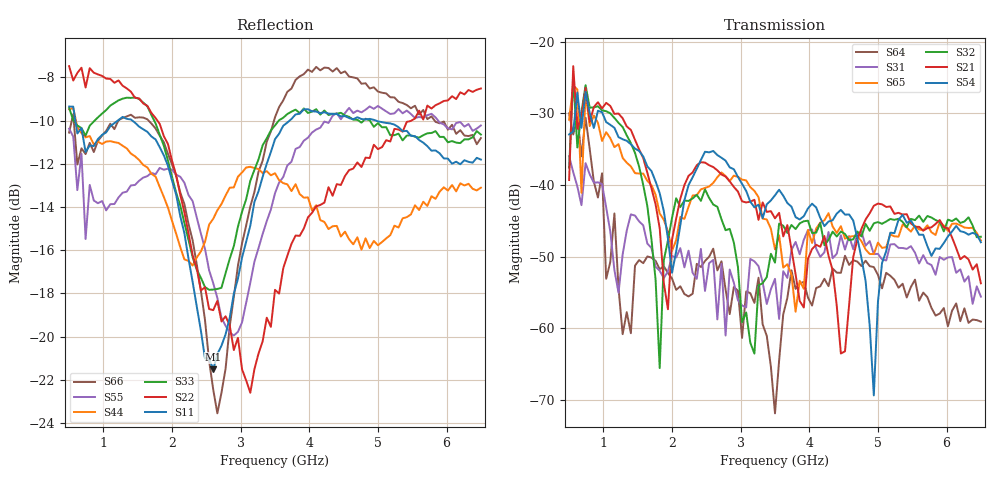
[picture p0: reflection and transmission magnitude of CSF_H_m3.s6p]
!Keysight Technologies,M9804A,MY58100912,A.14.10.03
!Date: Thursday, April 27, 2023 10:28:33
!Correction: S11(C  6-Port  )
!S12(C  6-Port  )
!S13(C  6-Port  )
!S14(C  6-Port  )
!S15(C  6-Port  )
!S16(C  6-Port  )
!S21(C  6-Port  )
!S22(C  6-Port  )
!S23(C  6-Port  )
!S24(C  6-Port  )
!S25(C  6-Port  )
!S26(C  6-Port  )
!S31(C  6-Port  )
!S32(C  6-Port  )
!S33(C  6-Port  )
!S34(C  6-Port  )
!S35(C  6-Port  )
!S36(C  6-Port  )
!S41(C  6-Port  )
!S42(C  6-Port  )
!S43(C  6-Port  )
!S44(C  6-Port  )
!S45(C  6-Port  )
!S46(C  6-Port  )
!S51(C  6-Port  )
!S52(C  6-Port  )
!S53(C  6-Port  )
!S54(C  6-Port  )
!S55(C  6-Port  )
!S56(C  6-Port  )
!S61(C  6-Port  )
!S62(C  6-Port  )
!S63(C  6-Port  )
!S64(C  6-Port  )
!S65(C  6-Port  )
!S66(C  6-Port  )
!S6P File: Measurement: :
# Hz S  RI  R 50
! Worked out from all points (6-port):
!   101 points, 500 MHz to 6.5 GHz, reference 50 ohm
!   strongest paths, dB at 500 MHz, 2 GHz, 3.5 GHz, 5 GHz, 6.5 GHz:
!     S54: -32.9, -52.3, -41.4, -56.3, -48.0
!     S21: -39.3, -47.6, -44.7, -42.6, -53.7
!     S32: -37.6, -44.6, -50.8, -45.2, -47.2
!     S65: -30.9, -49.2, -49.0, -48.1, -47.7
!     S31: -36.0, -49.9, -53.1, -49.6, -55.6
!     S64: -30.0, -53.1, -71.9, -52.6, -59.1
!   lowest |S11| = -21.5 dB at 2.6 GHz (marker M1), VSWR 1.18, Z = 42.5 + j2.07 ohm
!   |S11| at or under -10 dB: 591.2 MHz to 1.209 GHz (618.3 MHz wide, 68.7 % of centre); 1.42 GHz to 3.713 GHz (2.293 GHz wide, 89.4 % of centre); 4.969 GHz to end of sweep
